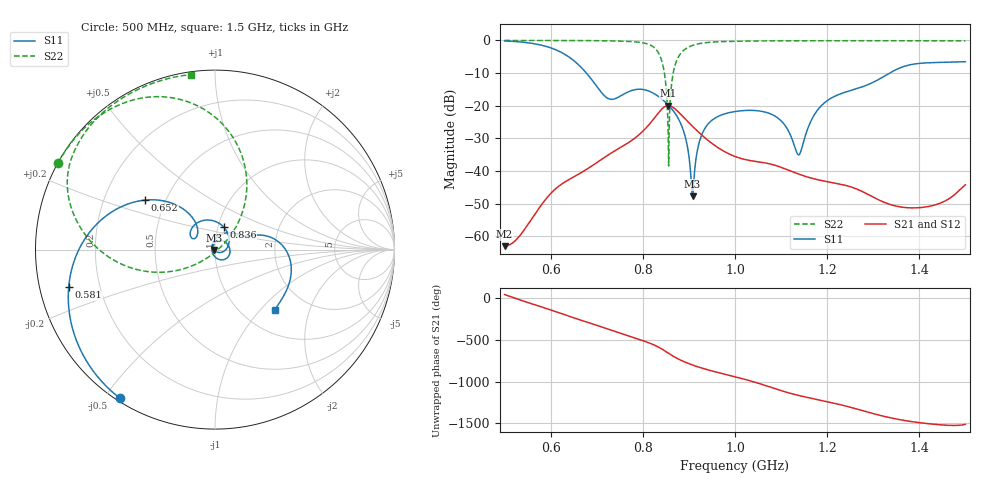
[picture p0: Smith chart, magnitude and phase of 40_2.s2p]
! TOUCHSTONE file generated by CST MICROWAVE STUDIO
! Date and time: Fri Oct  2 16:18:26 2020
! Project name: Scenario_1_Free_Space_out_of_line.cst
! Parameters = {Lambda=346.42; Step_1=17.321; dy1=-328.659; dx1=346; L_HA=400; MT=2.54; Rad_Dielectric=30; Rad_Lower=7.3; Rad_Upper=30; a_HA=580; a_WG=246; b_HA=500; b_WG=121; c_HA=0; c_WG=187; d_feed=85; h_feed=15; h_lower=18; h_upper=40}
! Header version: 2018
! Port assignment regex: !\s*Touchstone port\s*([0-9]+)\s*=\s*(CST MWS port|CST DS port)\s*([0-9]+|Zmin|Zmax)\s*\(\"(.*)\"\)(\s*mode\s*([0-9]+))?.*
! Touchstone port assignment:
! Touchstone port 1 = CST MWS port 1 ("")
! Touchstone port 2 = CST MWS port 2 ("")
# GHz S DB R 50
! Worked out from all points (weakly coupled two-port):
!   1003 points, 500 MHz to 1.5 GHz, reference 50 ohm
!   highest |S21| = -19.97 dB at 855 MHz (marker M1); lowest = -63.0 dB at 500 MHz (marker M2)
!   lowest |S11| = -47.8 dB at 908 MHz (marker M3), VSWR 1.01, Z = 49.6 - j0.203 ohm
!   |S11| at or under -10 dB: 677.4 MHz to 1.335 GHz (658 MHz wide, 65.4 % of centre)
!   |S22| runs from -38.4 to 0.0 dB; largest |S21 - S12| = 2.8e-05
!   S11 on the Smith chart (normalised r, x): 500 MHz: 0.01, -0.55; 581 MHz: 0.09, -0.13; 652 MHz: 0.38, +0.27; 836 MHz: 1.06, +0.27; 1.5 GHz: 1.39, -1.20
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0.5  -0.15 -122.7  -63.02 46.5  -63.02 46.5  -0.01 151.1
0.581  -1.49 -165.5  -50.15 -103.5  -50.15 -103.5  -0.02 145.5
0.652  -6.41 144.8  -41.65 122.6  -41.65 122.6  -0.03 139.7
0.667  -8.39 135.3  -40.44 95.9  -40.44 95.9  -0.04 138.3
0.726  -17.87 140.3  -34.97 -12.5  -34.97 -12.5  -0.12 131.3
0.792  -14.95 126.9  -28.85 -133.4  -28.85 -133.4  -0.55 115.9
0.834  -17.17 72.3  -22.17 133.7  -22.17 133.7  -3.82 81.8
0.836  -17.38 69.4  -21.83 127.8  -21.83 127.8  -4.37 78.6
0.846  -18.53 54.8  -20.45 95.1  -20.44 95.1  -9.36 59.5
0.855  -19.75 41.0  -19.97 62.8  -19.97 62.8  -29.81 22.5
0.873  -23.00 10.4  -21.36 2.5  -21.36 2.5  -6.31 -168.1
0.893  -30.06 -31.5  -24.21 -49.5  -24.21 -49.5  -2.56 172.0
0.908  -47.79 -149.9  -26.35 -81.4  -26.35 -81.4  -1.52 163.2
0.921  -31.95 108.6  -28.10 -105.9  -28.10 -105.9  -1.02 157.6
0.935  -26.87 79.7  -29.86 -129.6  -29.86 -129.6  -0.71 152.8
1  -21.78 5.9  -35.54 137.7  -35.54 137.7  -0.26 140.1
1.089  -23.36 -57.5  -38.34 -10.1  -38.34 -10.1  -0.12 130.6
1.138  -35.07 -172.5  -40.93 -87.1  -40.93 -87.1  -0.10 126.4
1.167  -24.07 86.4  -42.22 -123.4  -42.22 -123.4  -0.09 124.1
1.334  -10.12 13.2  -50.13 7.8  -50.13 7.8  -0.09 111.4
1.429  -6.80 -28.5  -50.58 -72.4  -50.59 -72.4  -0.11 103.9
1.5  -6.52 -45.3  -44.22 -74.7  -44.19 -74.6  -0.14 97.8
